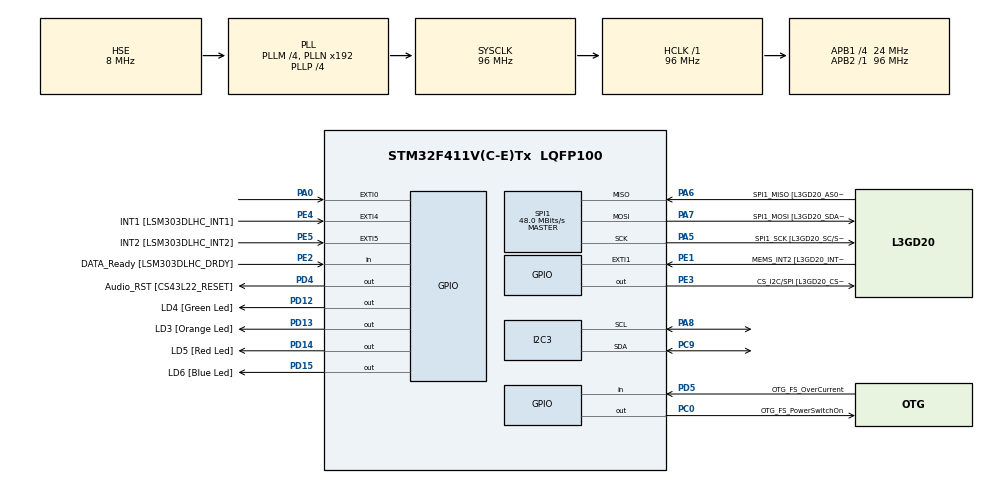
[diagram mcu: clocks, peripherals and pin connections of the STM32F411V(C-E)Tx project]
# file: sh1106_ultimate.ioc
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Mcu.Family=STM32F4
Mcu.Name=STM32F411V(C-E)Tx
Mcu.Package=LQFP100
NVIC.PriorityGroup=NVIC_PRIORITYGROUP_0
PA0-WKUP.GPIO_ModeDefaultEXTI=GPIO_MODE_EVT_RISING
PA0-WKUP.Signal=GPXTI0
PA13.GPIO_Label=SWDIO
PA13.Mode=Serial_Wire
PA13.Signal=SYS_JTMS-SWDIO
PA14.GPIO_Label=SWCLK
PA14.Mode=Serial_Wire
PA14.Signal=SYS_JTCK-SWCLK
PA5.GPIO_Label=SPI1_SCK [L3GD20_SC/SPC]
PA5.Mode=Full_Duplex_Master
PA5.Signal=SPI1_SCK
PA6.GPIO_Label=SPI1_MISO [L3GD20_AS0/SDO]
PA6.Mode=Full_Duplex_Master
PA6.Signal=SPI1_MISO
PA7.GPIO_Label=SPI1_MOSI [L3GD20_SDA/SDI/SDO]
PA7.Mode=Full_Duplex_Master
PA7.Signal=SPI1_MOSI
PA8.Mode=I2C
PA8.Signal=I2C3_SCL
PC0.GPIO_Label=OTG_FS_PowerSwitchOn
PC0.PinState=GPIO_PIN_SET
PC0.Signal=GPIO_Output
PC14-OSC32_IN.GPIO_Label=PC14-OSC32_IN
PC14-OSC32_IN.Mode=LSE-External-Oscillator
PC14-OSC32_IN.Signal=RCC_OSC32_IN
PC15-OSC32_OUT.GPIO_Label=PC15-OSC32_OUT
PC15-OSC32_OUT.Mode=LSE-External-Oscillator
PC15-OSC32_OUT.Signal=RCC_OSC32_OUT
PC9.Mode=I2C
PC9.Signal=I2C3_SDA
PD12.GPIO_Label=LD4 [Green Led]
PD12.GPIO_PuPd=GPIO_NOPULL
PD12.GPIO_Speed=GPIO_SPEED_FREQ_LOW
PD12.Signal=GPIO_Output
PD13.GPIO_Label=LD3 [Orange Led]
PD13.GPIO_PuPd=GPIO_NOPULL
PD13.GPIO_Speed=GPIO_SPEED_FREQ_LOW
PD13.Signal=GPIO_Output
PD14.GPIO_Label=LD5 [Red Led]
PD14.GPIO_PuPd=GPIO_NOPULL
PD14.GPIO_Speed=GPIO_SPEED_FREQ_LOW
PD14.Signal=GPIO_Output
PD15.GPIO_Label=LD6 [Blue Led]
PD15.GPIO_PuPd=GPIO_NOPULL
PD15.GPIO_Speed=GPIO_SPEED_FREQ_LOW
PD15.Signal=GPIO_Output
PD4.GPIO_Label=Audio_RST [CS43L22_RESET]
PD4.Signal=GPIO_Output
PD5.GPIO_Label=OTG_FS_OverCurrent
PD5.Signal=GPIO_Input
PE1.GPIO_Label=MEMS_INT2 [L3GD20_INT2]
PE1.GPIO_ModeDefaultEXTI=GPIO_MODE_EVT_RISING
PE1.Signal=GPXTI1
PE2.GPIO_Label=DATA_Ready [LSM303DLHC_DRDY]
PE2.Signal=GPIO_Input
PE3.GPIO_Label=CS_I2C/SPI [L3GD20_CS_I2C/SPI]
PE3.Signal=GPIO_Output
PE4.GPIO_Label=INT1 [LSM303DLHC_INT1]
PE4.GPIO_ModeDefaultEXTI=GPIO_MODE_EVT_RISING
PE4.Signal=GPXTI4
PE5.GPIO_Label=INT2 [LSM303DLHC_INT2]
PE5.GPIO_ModeDefaultEXTI=GPIO_MODE_EVT_RISING
PE5.Signal=GPXTI5
PH0\ -\ OSC_IN.GPIO_Label=PH0-OSC_IN
PH0\ -\ OSC_IN.Mode=HSE-External-Clock-Source
PH0\ -\ OSC_IN.Signal=RCC_OSC_IN
PH1\ -\ OSC_OUT.GPIO_Label=PH1-OSC_OUT
PH1\ -\ OSC_OUT.Mode=HSE-External-Clock-Source
PH1\ -\ OSC_OUT.Signal=RCC_OSC_OUT
ProjectManager.HeapSize=0x200
ProjectManager.StackSize=0x400
ProjectManager.TargetToolchain=SW4STM32
RCC.48MHZClocksFreq_Value=48000000
RCC.AHBFreq_Value=96000000
RCC.APB1CLKDivider=RCC_HCLK_DIV4
RCC.APB1Freq_Value=24000000
RCC.APB1TimFreq_Value=48000000
RCC.APB2Freq_Value=96000000
RCC.APB2TimFreq_Value=96000000
RCC.CortexFreq_Value=96000000
RCC.HCLKFreq_Value=96000000
RCC.HSE_VALUE=8000000
RCC.HSI_VALUE=16000000
RCC.PLLI2SM=5
RCC.PLLI2SN=200
RCC.PLLM=4
RCC.PLLP=RCC_PLLP_DIV4
RCC.PLLQ=8
RCC.PLLSourceVirtual=RCC_PLLSOURCE_HSE
RCC.SYSCLKFreq_VALUE=96000000
RCC.SYSCLKSource=RCC_SYSCLKSOURCE_PLLCLK
RCC.VCOOutputFreq_Value=384000000
SPI1.BaudRatePrescaler=SPI_BAUDRATEPRESCALER_2
SPI1.CalculateBaudRate=48.0 MBits/s
SPI1.Direction=SPI_DIRECTION_2LINES
SPI1.Mode=SPI_MODE_MASTER
SPI1.VirtualType=VM_MASTER
board=STM32F411E-DISCO

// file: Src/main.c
#include "main.h"
#include "i2c.h"
#include "spi.h"
#include "gpio.h"
#include "sh1106Ultimate.h"

/* USER CODE BEGIN PV */

//I2C_HandleTypeDef hi2c3;

/* USER CODE END PV */

void SystemClock_Config(void);
/* USER CODE BEGIN PFP */

void DEMO() {
    int choices[] = {0, 1, 2, 3};
    int choice = 0;

    shu_InitDisplay();
    shu_ChooseFont(Font_5x7);

    for (int i = 0; i < 4; i++) {
        choice = choices[i];

        if (choice == 0) {
            shu_GotoXY(0, 1);
            shu_DrawString("SH1106-ULTIMATE");
            shu_GotoXY(0, 2);
            shu_DrawString("Hello World!");
            shu_GotoXY(0, 4);
            shu_DrawString("MADE FOR UC");
            shu_DrawChar('U');
            HAL_Delay(8000);
        }
        else if (choice == 1) {

            shu_GotoXY(24,3);
            shu_DrawChar('I');
            shu_DrawChar(' ');
            //shu_DrawChar(' ');

            shu_GotoXY(shu_GetX(),2);
            shu_DrawHeart();

            uint16_t someX = shu_GetX();
            shu_GotoXY(someX, 3);
            shu_DrawString("|| O K");

            shu_GotoXY(someX+3, 2);
            shu_DrawString("_");

            shu_GotoXY(50, 6);
            shu_DrawString(":=)");
            HAL_Delay(8000);
        }
        else if (choice == 3) {

            shu_GotoXY(0, 2);
            shu_DrawString("=====================");

            shu_GotoXY(35, 3);
            shu_DrawString("Thank you");

            shu_GotoXY(24, 4);
            shu_DrawString("for attention!");

            shu_GotoXY(0, 5);
            shu_DrawString("=====================");
            HAL_Delay(8000);
        }
        else if (choice == 2) {
            uint16_t prevX = 0;
            uint16_t prevY = 4;
            int ticks = 0;
            while (ticks < 15) {

                shu_GotoXY(30, 1);
                shu_DrawString("ANIMATION!");

                shu_GotoXY(prevX, prevY);
                shu_DrawString("-->");
                prevX = shu_GetX();
                prevY = shu_GetY();

                HAL_Delay(5);

                shu_ClearDisplay();

                shu_GotoXY(30, 1);
                shu_DrawString("ANIMATION!");

                HAL_Delay(1);
                ticks++;
            }
            shu_ClearDisplay();
            shu_GotoXY(40, 4);
            shu_DrawString("THE END");
            HAL_Delay(3000);
        }
        shu_ClearDisplay();
    }

}

/* USER CODE END PFP */

int main(void)
{

    /* MCU Configuration--------------------------------------------------------*/

    /* Reset of all peripherals, Initializes the Flash interface and the Systick. */
    HAL_Init();

    /* Configure the system clock */
    SystemClock_Config();

    /* Initialize all configured peripherals */
    MX_GPIO_Init();
    MX_I2C3_Init();
    MX_SPI1_Init();
    /* USER CODE BEGIN 2 */
    DEMO();
    /* USER CODE END 2 */

    /* Infinite loop */
    while (1)
    {

    }
}

void SystemClock_Config(void)
{
    RCC_OscInitTypeDef RCC_OscInitStruct = {0};
    RCC_ClkInitTypeDef RCC_ClkInitStruct = {0};

    /** Configure the main internal regulator output voltage
    */
    __HAL_RCC_PWR_CLK_ENABLE();
    __HAL_PWR_VOLTAGESCALING_CONFIG(PWR_REGULATOR_VOLTAGE_SCALE1);
    /** Initializes the CPU, AHB and APB busses clocks
    */
    RCC_OscInitStruct.OscillatorType = RCC_OSCILLATORTYPE_HSE;
    RCC_OscInitStruct.HSEState = RCC_HSE_ON;
    RCC_OscInitStruct.PLL.PLLState = RCC_PLL_ON;
    RCC_OscInitStruct.PLL.PLLSource = RCC_PLLSOURCE_HSE;
    RCC_OscInitStruct.PLL.PLLM = 4;
    RCC_OscInitStruct.PLL.PLLN = 192;
    RCC_OscInitStruct.PLL.PLLP = RCC_PLLP_DIV4;
    RCC_OscInitStruct.PLL.PLLQ = 8;
    if (HAL_RCC_OscConfig(&RCC_OscInitStruct) != HAL_OK)
    {
        Error_Handler();
    }
    /** Initializes the CPU, AHB and APB busses clocks
    */
    RCC_ClkInitStruct.ClockType = RCC_CLOCKTYPE_HCLK|RCC_CLOCKTYPE_SYSCLK
                                  |RCC_CLOCKTYPE_PCLK1|RCC_CLOCKTYPE_PCLK2;
    RCC_ClkInitStruct.SYSCLKSource = RCC_SYSCLKSOURCE_PLLCLK;
    RCC_ClkInitStruct.AHBCLKDivider = RCC_SYSCLK_DIV1;
    RCC_ClkInitStruct.APB1CLKDivider = RCC_HCLK_DIV4;
    RCC_ClkInitStruct.APB2CLKDivider = RCC_HCLK_DIV1;

    if (HAL_RCC_ClockConfig(&RCC_ClkInitStruct, FLASH_LATENCY_3) != HAL_OK)
    {
        Error_Handler();
    }
}

void Error_Handler(void)
{
}

/************************ (C) COPYRIGHT STMicroelectronics *****END OF FILE****/
